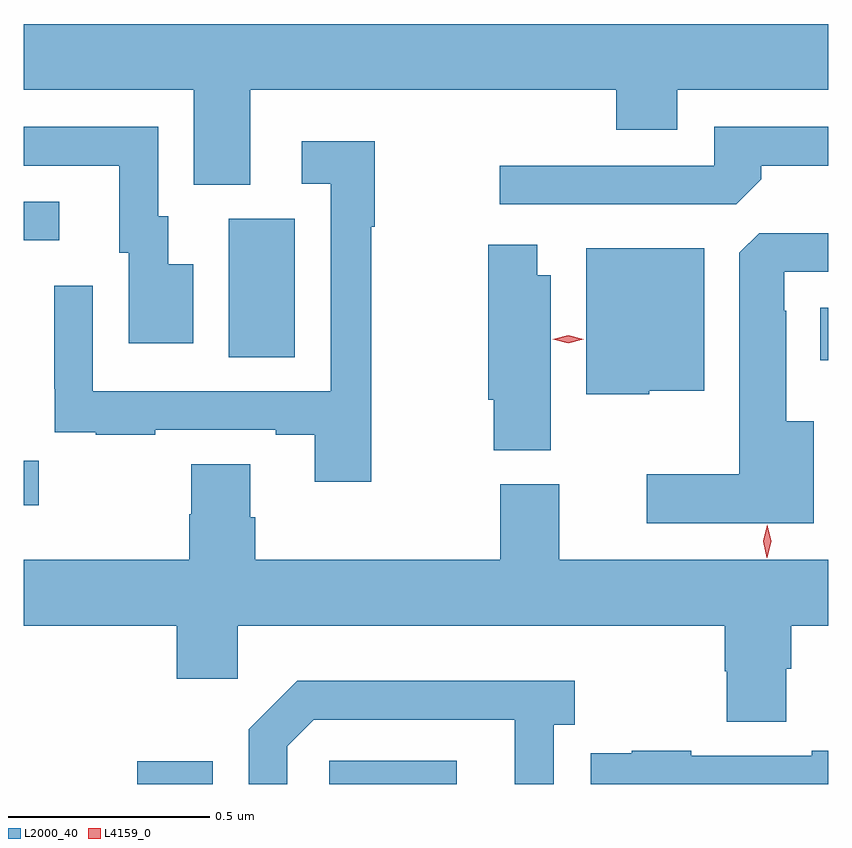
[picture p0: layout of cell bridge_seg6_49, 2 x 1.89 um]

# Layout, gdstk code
import gdstk
lib = gdstk.Library(unit=1e-6, precision=1e-09)
def R(c, l, rs):  # rectangles x0, y0, x1, y1
    for r in rs: c.add(gdstk.rectangle(r[:2], r[2:], *l))
def P(c, l, *ps):  # polygons
    for p in ps: c.add(gdstk.Polygon(p, *l))
L2000_40 = (2000, 40)
L4159_0 = (4159, 0)

bridge_seg6_49 = lib.new_cell('bridge_seg6_49')
R(bridge_seg6_49, L2000_40, [(1065.566,988.235,1065.754,988.291), (1066.044,988.235,1066.36,988.293), (1065.284,988.928,1065.322,989.038), (1067.264,989.288,1067.284,989.419), (1065.794,989.296,1065.958,989.64), (1065.284,989.586,1065.373,989.682)])
P(bridge_seg6_49, L2000_40, [(1065.847,989.96),(1066.757,989.96),(1066.757,989.861),(1066.909,989.861),(1066.909,989.96),(1067.284,989.96),(1067.284,990.124),(1065.284,990.124),(1065.284,989.96),(1065.707,989.96),(1065.707,989.725),(1065.847,989.725)],
  [(1067.117,989.738),(1067.117,989.772),(1067.284,989.772),(1067.284,989.868),(1067.001,989.868),(1067.001,989.772),(1066.467,989.772),(1066.467,989.676),(1067.055,989.676)],
  [(1065.706,989.527),(1065.643,989.527),(1065.643,989.646),(1065.618,989.646),(1065.618,989.868),(1065.284,989.868),(1065.284,989.772),(1065.521,989.772),(1065.521,989.556),(1065.545,989.556),(1065.545,989.331),(1065.706,989.331)],
  [(1066.148,989.62),(1066.156,989.62),(1066.156,989.833),(1065.975,989.833),(1065.975,989.727),(1066.047,989.727),(1066.047,989.211),(1065.456,989.211),(1065.456,989.473),(1065.36,989.473),(1065.36,989.218),(1065.361,989.218),(1065.361,989.109),(1065.463,989.109),(1065.463,989.103),(1065.611,989.103),(1065.611,989.115),(1065.911,989.115),(1065.911,989.103),(1066.007,989.103),(1066.007,988.986),(1066.148,988.986)],
  [(1067.248,989.137),(1067.179,989.137),(1067.179,989.411),(1067.175,989.411),(1067.175,989.508),(1067.284,989.508),(1067.284,989.604),(1067.112,989.604),(1067.063,989.555),(1067.063,989.005),(1066.833,989.005),(1066.833,988.883),(1067.248,988.883)],
  [(1066.594,989.5),(1066.561,989.5),(1066.561,989.575),(1066.439,989.575),(1066.439,989.19),(1066.453,989.19),(1066.453,989.065),(1066.594,989.065)],
  [(1066.839,989.213),(1066.975,989.213),(1066.975,989.566),(1066.682,989.566),(1066.682,989.204),(1066.839,989.204)],
  [(1067.179,988.522),(1067.192,988.522),(1067.192,988.628),(1067.284,988.628),(1067.284,988.792),(1066.615,988.792),(1066.615,988.98),(1066.468,988.98),(1066.468,988.792),(1065.86,988.792),(1065.86,988.898),(1065.847,988.898),(1065.847,989.03),(1065.7,989.03),(1065.7,988.905),(1065.695,988.905),(1065.695,988.792),(1065.284,988.792),(1065.284,988.628),(1065.665,988.628),(1065.665,988.497),(1065.816,988.497),(1065.816,988.628),(1067.027,988.628),(1067.027,988.515),(1067.032,988.515),(1067.032,988.39),(1067.179,988.39)],
  [(1065.939,988.329),(1066.005,988.395),(1066.505,988.395),(1066.505,988.235),(1066.602,988.235),(1066.602,988.382),(1066.654,988.382),(1066.654,988.492),(1065.964,988.492),(1065.843,988.371),(1065.843,988.235),(1065.939,988.235)],
  [(1067.284,988.318),(1067.243,988.318),(1067.243,988.305),(1066.943,988.305),(1066.943,988.318),(1066.795,988.318),(1066.795,988.311),(1066.693,988.311),(1066.693,988.235),(1067.284,988.235)])
P(bridge_seg6_49, L4159_0, [(1067.131,988.797),(1067.122,988.838),(1067.132,988.879),(1067.132,988.879),(1067.132,988.879),(1067.142,988.838),(1067.132,988.797),(1067.132,988.797)],
  [(1066.637,989.331),(1066.599,989.341),(1066.598,989.341),(1066.599,989.341),(1066.637,989.351),(1066.676,989.341),(1066.676,989.341),(1066.676,989.341)])

lib.write_gds('bridge_seg6_49.gds')
